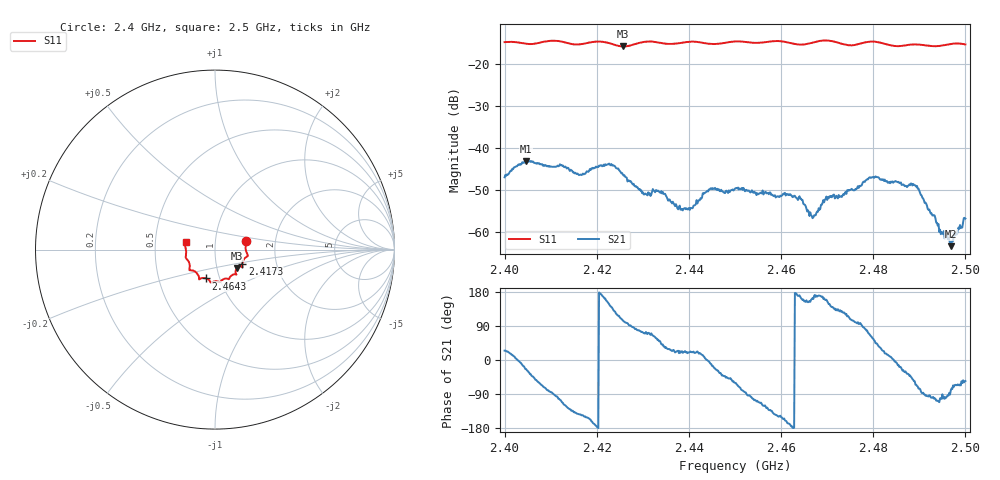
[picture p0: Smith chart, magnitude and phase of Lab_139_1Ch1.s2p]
# Hz S RI R 50
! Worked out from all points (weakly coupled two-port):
!   601 points, 2.4 GHz to 2.5 GHz, reference 50 ohm
!   highest |S21| = -43.09 dB at 2.4047 GHz (marker M1); lowest = -63.3 dB at 2.4968 GHz (marker M2)
!   lowest |S11| = -15.9 dB at 2.4257 GHz (marker M3), VSWR 1.38, Z = 62.5 - j13.1 ohm
!   |S11| at or under -10 dB: start of sweep to end of sweep
!   S12 and S22 are empty: the file has one direction only
!   S11 on the Smith chart (normalised r, x): 2.4 GHz: 1.41, +0.14; 2.4173 GHz: 1.34, -0.23; 2.4643 GHz: 0.86, -0.28; 2.5 GHz: 0.72, +0.06
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2.4e9  0.1732 0.0486  0.00407 0.00187  0 0  0 0
2.404667e9  0.171 0.0178  0.00641 -0.00284  0 0  0 0
2.416667e9  0.1531 -0.0747  -0.00395 -0.00268  0 0  0 0
2.417333e9  0.1521 -0.0823  -0.00424 -0.0025  0 0  0 0
2.422667e9  0.1476 -0.0946  -0.00552 0.00348  0 0  0 0
2.425667e9  0.1227 -0.1022  -0.00119 0.00469  0 0  0 0
2.430333e9  0.1182 -0.1375  0.000952 0.00264  0 0  0 0
2.433333e9  0.113 -0.1375  0.00184 0.0025  0 0  0 0
2.438667e9  0.0805 -0.1581  0.00172 0.000583  0 0  0 0
2.440667e9  0.0778 -0.1648  0.0018 0.000682  0 0  0 0
2.444833e9  0.0569 -0.1615  0.00327 -0.000614  0 0  0 0
2.45e9  0.0289 -0.1809  0.00163 -0.00285  0 0  0 0
2.464333e9  -0.0498 -0.1605  -0.00239 0.000733  0 0  0 0
2.466667e9  -0.0759 -0.1592  -0.00148 0.000504  0 0  0 0
2.47e9  -0.0883 -0.166  -0.0022 0.001  0 0  0 0
2.473167e9  -0.0922 -0.1451  -0.00165 0.00203  0 0  0 0
2.479167e9  -0.1413 -0.1147  0.00166 0.00415  0 0  0 0
2.483333e9  -0.1406 -0.0898  0.0038 0.000797  0 0  0 0
2.489333e9  -0.1632 -0.0438  0.00143 -0.00316  0 0  0 0
2.4945e9  -0.1625 0.00382  -0.000209 -0.00105  0 0  0 0
2.496833e9  -0.1692 0.0259  0.000117 -0.000673  0 0  0 0
2.5e9  -0.1634 0.0425  0.000824 -0.00119  0 0  0 0
